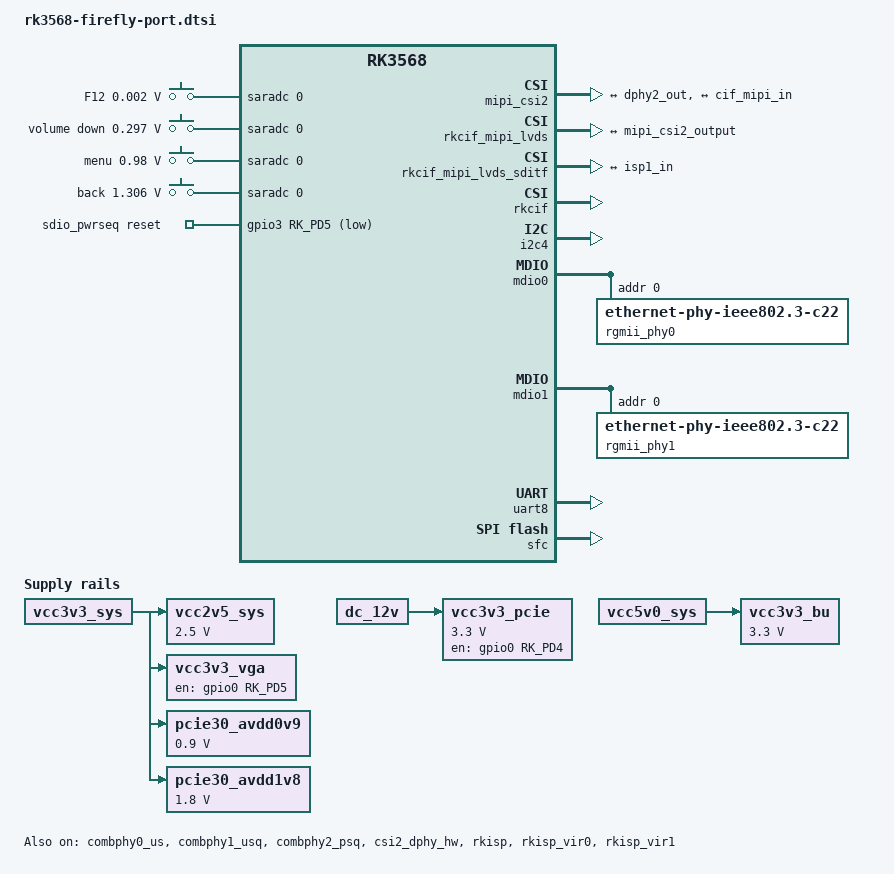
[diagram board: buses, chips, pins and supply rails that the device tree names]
// SPDX-License-Identifier: (GPL-2.0+ OR MIT)
/*
 * Copyright (c) 2020 Rockchip Electronics Co., Ltd.
 *
 */

/dts-v1/;

#include <dt-bindings/gpio/gpio.h>
#include <dt-bindings/pinctrl/rockchip.h>
#include "rk3568-firefly-core.dtsi"
#include "rk356x-firefly-demo.dtsi"

/ {
	compatible = "rockchip,rk3568-firefly-port", "rockchip,rk3568";

	adc_keys: adc-keys {
		compatible = "adc-keys";
		io-channels = <&saradc 0>;
		io-channel-names = "buttons";
		keyup-threshold-microvolt = <1800000>;
		poll-interval = <100>;

		recovery-key {
			label = "F12";
			linux,code = <KEY_F12>;
			press-threshold-microvolt = <1750>;
		};

		vol-down-key {
			label = "volume down";
			linux,code = <KEY_VOLUMEDOWN>;
			press-threshold-microvolt = <297500>;
		};

		menu-key {
			label = "menu";
			linux,code = <KEY_MENU>;
			press-threshold-microvolt = <980000>;
		};

		back-key {
			label = "back";
			linux,code = <KEY_BACK>;
			press-threshold-microvolt = <1305500>;
		};
	};

	rk_headset: rk-headset {
		status = "disabled";
		compatible = "rockchip_headset";
		headset_gpio = <&gpio3 RK_PC2 GPIO_ACTIVE_LOW>;
		pinctrl-names = "default";
		pinctrl-0 = <&hp_det>;
	};

	vcc2v5_sys: vcc2v5-ddr {
		compatible = "regulator-fixed";
		regulator-name = "vcc2v5-sys";
		regulator-always-on;
		regulator-boot-on;
		regulator-min-microvolt = <2500000>;
		regulator-max-microvolt = <2500000>;
		vin-supply = <&vcc3v3_sys>;
	};

	vcc3v3_vga: vcc3v3-vga {
		compatible = "regulator-fixed";
		regulator-name = "vcc3v3_vga";
		regulator-always-on;
		regulator-boot-on;
		gpio = <&gpio0 RK_PD5 GPIO_ACTIVE_HIGH>;
		enable-active-high;
		vin-supply = <&vcc3v3_sys>;
	};

	pcie30_avdd0v9: pcie30-avdd0v9 {
		compatible = "regulator-fixed";
		regulator-name = "pcie30_avdd0v9";
		regulator-always-on;
		regulator-boot-on;
		regulator-min-microvolt = <900000>;
		regulator-max-microvolt = <900000>;
		vin-supply = <&vcc3v3_sys>;
	};

	pcie30_avdd1v8: pcie30-avdd1v8 {
		compatible = "regulator-fixed";
		regulator-name = "pcie30_avdd1v8";
		regulator-always-on;
		regulator-boot-on;
		regulator-min-microvolt = <1800000>;
		regulator-max-microvolt = <1800000>;
		vin-supply = <&vcc3v3_sys>;
	};

	vcc3v3_pcie: gpio-regulator {
		compatible = "regulator-fixed";
		regulator-name = "vcc3v3_pcie";
		regulator-min-microvolt = <3300000>;
		regulator-max-microvolt = <3300000>;
		enable-active-high;
		gpio = <&gpio0 RK_PD4 GPIO_ACTIVE_HIGH>;
		startup-delay-us = <10000>;
		vin-supply = <&dc_12v>;
	};

	vcc3v3_bu: vcc3v3-bu {
		compatible = "regulator-fixed";
		regulator-name = "vcc3v3_bu";
		regulator-always-on;
		regulator-boot-on;
		regulator-min-microvolt = <3300000>;
		regulator-max-microvolt = <3300000>;
		vin-supply = <&vcc5v0_sys>;
	};

	sdio_pwrseq: sdio-pwrseq {
		compatible = "mmc-pwrseq-simple";
		clocks = <&rk809 1>;
		clock-names = "ext_clock";
		pinctrl-names = "default";
		pinctrl-0 = <&wifi_enable_h>;
		/*
			* On the module itself this is one of these (depending
			* on the actual card populated):
			* - SDIO_RESET_L_WL_REG_ON
			* - PDN (power down when low)
		*/
		post-power-on-delay-ms = <200>;
		reset-gpios = <&gpio3 RK_PD5 GPIO_ACTIVE_LOW>;
	};

	wireless_wlan: wireless-wlan {
		compatible = "wlan-platdata";
		rockchip,grf = <&grf>;
		wifi_chip_type = "ap6398s";
		pinctrl-names = "default";
		pinctrl-0 = <&wifi_host_wake_irq>;
		WIFI,host_wake_irq = <&gpio3 RK_PD4 GPIO_ACTIVE_HIGH>;
		status = "disabled";
	};

	wireless_bluetooth: wireless-bluetooth {
		compatible = "bluetooth-platdata";
		clocks = <&rk809 1>;
		clock-names = "ext_clock";
		//wifi-bt-power-toggle;
		uart_rts_gpios = <&gpio2 RK_PB1 GPIO_ACTIVE_LOW>;
		pinctrl-names = "default", "rts_gpio";
		pinctrl-0 = <&uart8m0_rtsn>;
		pinctrl-1 = <&uart8_gpios>;
		BT,reset_gpio    = <&gpio3 RK_PA0 GPIO_ACTIVE_HIGH>;
		BT,wake_gpio     = <&gpio3 RK_PA1 GPIO_ACTIVE_HIGH>;
		BT,wake_host_irq = <&gpio3 RK_PA2 GPIO_ACTIVE_HIGH>;
		status = "disabled";
	};
        flash_led: flash-led {
                status = "disabled";
                compatible = "led,rgb13h";
                label = "pwm-flash-led";
                led-max-microamp = <20000>;
                flash-max-microamp = <20000>;
                flash-max-timeout-us = <1000000>;
                pwms=<&pwm11 0 25000 0>;
                rockchip,camera-module-index = <1>;
                rockchip,camera-module-facing = "front";
        };
        vcc_camera: vcc-camera-regulator {
                compatible = "regulator-fixed";
                gpio = <&pca9555 PCA_IO0_3 GPIO_ACTIVE_HIGH>;
                pinctrl-names = "default";
                pinctrl-0 = <&vcc_cam>;
                regulator-name = "vcc_camera";
                enable-active-high;
		status = "disabled";
        };
};

&combphy0_us {
	status = "okay";
};

&combphy1_usq {
	status = "okay";
};

&combphy2_psq {
	status = "okay";
};

&csi2_dphy_hw {
	status = "okay";
};

&csi2_dphy0 {
	status = "disabled";
	/*
	* dphy0 only used for full mode,
	* full mode and split mode are mutually exclusive
	*/
	ports {
		#address-cells = <1>;
		#size-cells = <0>;
		port@0 {
			reg = <0>;
			#address-cells = <1>;
			#size-cells = <0>;

			mipi_in_ucam0: endpoint@1 {
				reg = <1>;
				remote-endpoint = <&ucam_out0>;
				data-lanes = <1 2 3 4>;
			};
			mipi_in_ucam1: endpoint@2 {
				reg = <2>;
				remote-endpoint = <&gc8034_out>;
				data-lanes = <1 2 3 4>;
			};
			mipi_in_ucam2: endpoint@3 {
				reg = <3>;
				remote-endpoint = <&ov5695_out>;
				data-lanes = <1 2>;
			};
			mipi_in_ucam3: endpoint@4 {
				reg = <4>;
				remote-endpoint = <&xc7022b_out>;
				data-lanes = <1 2 3 4>;
			};
			mipi_in_ucam4: endpoint@5 {
				reg = <5>;
				remote-endpoint = <&xc7160_out>;
				data-lanes = <1 2 3 4>;
			};
            mipi_in_ucam5: endpoint@6 {
				reg = <6>;
				remote-endpoint = <&veyecam2m_out>;
				data-lanes = <1 2>;
			};
		};
		port@1 {
			reg = <1>;
			#address-cells = <1>;
			#size-cells = <0>;

			csidphy_out: endpoint@0 {
				reg = <0>;
				remote-endpoint = <&isp0_in>;
			};
		};
	};
};

&rkisp {
	status = "okay";
};

&rkisp_mmu {
	status = "okay";
};

&rkisp_vir0 {
	status = "okay";
	port {
		#address-cells = <1>;
		#size-cells = <0>;

		isp0_in: endpoint@0 {
			reg = <0>;
			remote-endpoint = <&dphy1_out>;
		};
	};
};

&rkisp_vir1 {
	status = "okay";

        port {
		reg = <0>;
                #address-cells = <1>;
                #size-cells = <0>;

                isp1_in: endpoint@0 {
                        reg = <0>;
                        remote-endpoint = <&mipi_lvds_sditf>;
                };
        };
};

&csi2_dphy1 {
	status = "disabled";
	/*
	* dphy1 only used for split mode,
	* can be used  concurrently  with dphy2
	* full mode and split mode are mutually exclusive
	*/
	ports {
		#address-cells = <1>;
		#size-cells = <0>;

		port@0 {
			reg = <0>;
			#address-cells = <1>;
			#size-cells = <0>;

			dphy1_in: endpoint@1 {
					reg = <1>;
					remote-endpoint = <&gc2053_out>;
					data-lanes = <1 2>;
			};
		};

		port@1 {
			reg = <1>;
			#address-cells = <1>;
			#size-cells = <0>;

			dphy1_out: endpoint@1 {
					reg = <1>;
					remote-endpoint = <&isp0_in>;
			};
		};
	};
};

&csi2_dphy2 {
	status = "disabled";
	/*
	* dphy2 only used for split mode,
	* can be used  concurrently  with dphy1
	* full mode and split mode are mutually exclusive
	*/
	ports {
		#address-cells = <1>;
		#size-cells = <0>;

		port@0 {
			reg = <0>;
			#address-cells = <1>;
			#size-cells = <0>;

			dphy2_in: endpoint@1 {
					reg = <1>;
					remote-endpoint = <&gc2093_out>;
					data-lanes = <1 2>;
			};
		};

		port@1 {
			reg = <1>;
			#address-cells = <1>;
			#size-cells = <0>;

			dphy2_out: endpoint@1 {
					reg = <1>;
					remote-endpoint = <&mipi_csi2_input>;
			};
		};
	};
};

&mipi_csi2 {
	status = "okay";

	ports {
		#address-cells = <1>;
		#size-cells = <0>;

		port@0 {
			reg = <0>;
			#address-cells = <1>;
			#size-cells = <0>;

			mipi_csi2_input: endpoint@1 {
					reg = <1>;
					remote-endpoint = <&dphy2_out>;
					data-lanes = <1 2>;
			};
		};

		port@1 {
			reg = <1>;
			#address-cells = <1>;
			#size-cells = <0>;

			mipi_csi2_output: endpoint@0 {
					reg = <0>;
					remote-endpoint = <&cif_mipi_in>;
					data-lanes = <1 2>;
			};
		};
	};
};

&rkcif_mipi_lvds {
	status = "okay";
	port {
		cif_mipi_in: endpoint {
			remote-endpoint = <&mipi_csi2_output>;
			data-lanes = <1 2>;
		};
	};
};

&rkcif_mipi_lvds_sditf {
	status = "okay";
	port {
		mipi_lvds_sditf: endpoint {
			remote-endpoint = <&isp1_in>;
			data-lanes = <1 2>;
		};
	};
};

&rkcif_mmu {
    status = "okay";
};

&rkcif {
    status = "okay";
};

&gmac0 {
	phy-mode = "rgmii";
	clock_in_out = "input";

	snps,reset-gpio = <&gpio2 RK_PD3 GPIO_ACTIVE_LOW>;
	snps,reset-active-low;
	/* Reset time is 20ms, 100ms for rtl8211f */
	snps,reset-delays-us = <0 20000 100000>;

	assigned-clocks = <&cru SCLK_GMAC0_RX_TX>, <&cru SCLK_GMAC0>;
	assigned-clock-parents = <&cru SCLK_GMAC0_RGMII_SPEED>, <&cru CLK_MAC0_2TOP>;

	pinctrl-names = "default";
	pinctrl-0 = <&gmac0_miim
		     &gmac0_tx_bus2
		     &gmac0_rx_bus2
		     &gmac0_rgmii_clk
		     &gmac0_rgmii_bus>;

	tx_delay = <0x3c>;
	rx_delay = <0x2f>;

	phy-handle = <&rgmii_phy0>;
	status = "disabled";
};

&gmac1 {
	phy-mode = "rgmii";
	clock_in_out = "input";

	snps,reset-gpio = <&gpio2 RK_PD1 GPIO_ACTIVE_LOW>;
	snps,reset-active-low;
	/* Reset time is 20ms, 100ms for rtl8211f */
	snps,reset-delays-us = <0 20000 100000>;

	assigned-clocks = <&cru SCLK_GMAC1_RX_TX>, <&cru SCLK_GMAC1>;
	assigned-clock-parents = <&cru SCLK_GMAC1_RGMII_SPEED>, <&cru CLK_MAC1_2TOP>;

	pinctrl-names = "default";
	pinctrl-0 = <&gmac1m1_miim
		     &gmac1m1_tx_bus2
		     &gmac1m1_rx_bus2
		     &gmac1m1_rgmii_clk
		     &gmac1m1_rgmii_bus>;

	tx_delay = <0x4f>;
	rx_delay = <0x26>;

	phy-handle = <&rgmii_phy1>;
	status = "disabled";
};

/*
 * power-supply should switche to vcc3v3_lcd1_n
 * when mipi panel is connected to dsi1.
 */

&i2c4 {
	status = "okay";
	gc8034: gc8034@37 {
		compatible = "galaxycore,gc8034";
		status = "disabled";
		reg = <0x37>;
		clocks = <&cru CLK_CIF_OUT>;
		clock-names = "xvclk";
		pinctrl-names = "default";
		pinctrl-0 = <&cif_clk>;
		reset-gpios = <&gpio3 RK_PB6 GPIO_ACTIVE_LOW>;
		pwdn-gpios = <&gpio4 RK_PB4 GPIO_ACTIVE_LOW>;
		rockchip,grf = <&grf>;
		power-domains = <&power RK3568_PD_VI>;
		rockchip,camera-module-index = <0>;
		rockchip,camera-module-facing = "back";
		rockchip,camera-module-name = "RK-CMK-8M-2-v1";
		rockchip,camera-module-lens-name = "CK8401";
		port {
			gc8034_out: endpoint {
				remote-endpoint = <&mipi_in_ucam1>;
				data-lanes = <1 2 3 4>;
			};
		};
	};
        XC7022b: XC7022b@1b{
                status = "disabled";
                compatible = "firefly,xc7022";
                reg = <0x1b>;

                clocks = <&cru CLK_CIF_OUT>;
                clock-names = "xvclk";
                power-domains = <&power RK3568_PD_VI>;
                pinctrl-names = "default";
                pinctrl-0 = <&cif_clk>;

                reset-gpios = <&pca9555 PCA_IO0_0 GPIO_ACTIVE_HIGH>;
                pwdn-gpios = <&pca9555 PCA_IO0_1 GPIO_ACTIVE_HIGH>;

                firefly,clkout-enabled-index = <0>;
                rockchip,camera-module-index = <0>;
                rockchip,camera-module-facing = "back";
                rockchip,camera-module-name = "NC";
                rockchip,camera-module-lens-name = "NC";
                port {
                        xc7022b_out: endpoint {
                                        remote-endpoint = <&mipi_in_ucam0>;
                                        data-lanes = <1 2 3 4>;
                        };
                };
        };
	os04a10: os04a10@36 {
		status = "disabled";
		compatible = "ovti,os04a10";
		reg = <0x36>;
		clocks = <&cru CLK_CIF_OUT>;
		clock-names = "xvclk";
		power-domains = <&power RK3568_PD_VI>;
		pinctrl-names = "default";
		pinctrl-0 = <&cif_clk>;
		reset-gpios = <&gpio3 RK_PB6 GPIO_ACTIVE_LOW>;
		pwdn-gpios = <&gpio4 RK_PB4 GPIO_ACTIVE_HIGH>;
		rockchip,camera-module-index = <0>;
		rockchip,camera-module-facing = "back";
		rockchip,camera-module-name = "CMK-OT1607-FV1";
		rockchip,camera-module-lens-name = "M12-40IRC-4MP-F16";
		port {
			ucam_out0: endpoint {
				remote-endpoint = <&mipi_in_ucam0>;
				data-lanes = <1 2 3 4>;
			};
		};
	};
	ov5695: ov5695@36 {
		status = "disabled";
		compatible = "ovti,ov5695";
		reg = <0x36>;
		clocks = <&cru CLK_CIF_OUT>;
		clock-names = "xvclk";
		power-domains = <&power RK3568_PD_VI>;
		pinctrl-names = "default";
		pinctrl-0 = <&cif_clk>;
		reset-gpios = <&gpio3 RK_PB6 GPIO_ACTIVE_HIGH>;
		pwdn-gpios = <&gpio4 RK_PB4 GPIO_ACTIVE_HIGH>;
		rockchip,camera-module-index = <0>;
		rockchip,camera-module-facing = "back";
		rockchip,camera-module-name = "TongJu";
		rockchip,camera-module-lens-name = "CHT842-MD";
		port {
			ov5695_out: endpoint {
				remote-endpoint = <&mipi_in_ucam2>;
				data-lanes = <1 2>;
			};
		};
	};
        XC7160: XC7160b@1b{
                status = "disabled";
                compatible = "firefly,xc7160";
                reg = <0x1b>;
                clocks = <&cru CLK_CIF_OUT>;
                clock-names = "xvclk";
                power-domains = <&power RK3568_PD_VI>;
                pinctrl-names = "default";
                pinctrl-0 = <&cif_clk>;

                power-gpios = <&pca9555 PCA_IO0_4 GPIO_ACTIVE_LOW>;
                reset-gpios = <&pca9555 PCA_IO0_0 GPIO_ACTIVE_HIGH>;
                pwdn-gpios = <&pca9555 PCA_IO0_1 GPIO_ACTIVE_HIGH>;

                firefly,clkout-enabled-index = <0>;
                rockchip,camera-module-index = <0>;
                rockchip,camera-module-facing = "back";
                rockchip,camera-module-name = "NC";
                rockchip,camera-module-lens-name = "NC";
                port {
                        xc7160_out: endpoint {
                                remote-endpoint = <&mipi_in_ucam4>;
                                data-lanes = <1 2 3 4>;
                        };
                };
	};
    veyecam2m: veyecam2m@3b{
                status = "disabled";
                compatible = "veye,veyecam2m";
                reg = <0x3b>;
                clocks = <&cru CLK_CIF_OUT>;
                clock-names = "xvclk";
                power-domains = <&power RK3568_PD_VI>;
                pinctrl-names = "default";
                pinctrl-0 = <&cif_clk>;

                //power-gpios = <&pca9555 PCA_IO0_4 GPIO_ACTIVE_LOW>;
                reset-gpios = <&pca9555 PCA_IO0_0 GPIO_ACTIVE_HIGH>;
                pwdn-gpios = <&pca9555 PCA_IO0_1 GPIO_ACTIVE_HIGH>;

                firefly,clkout-enabled-index = <0>;
                rockchip,camera-module-index = <0>;
                rockchip,camera-module-facing = "back";
                rockchip,camera-module-name = "NC";
                rockchip,camera-module-lens-name = "NC";
                port {
                        veyecam2m_out: endpoint {
                                remote-endpoint = <&mipi_in_ucam5>;
                                data-lanes = <1 2>;
                        };
                };
	};
        gc2053: gc2053@37 { //IR
                status = "disabled";
                compatible = "galaxycore,gc2053";
                reg = <0x37>;

                avdd-supply = <&vcc_camera>;
                power-domains = <&power RK3568_PD_VI>;
                clocks = <&pmucru CLK_WIFI>;
                clock-names = "xvclk";
                pinctrl-names = "default";
                pinctrl-0 = <&refclk_pins>;

                power-gpios = <&pca9555 PCA_IO0_0 GPIO_ACTIVE_HIGH>; //IR_PWR_EN
                pwdn-gpios = <&pca9555 PCA_IO0_4 GPIO_ACTIVE_LOW>;

                firefly,clkout-enabled-index = <1>;
                rockchip,camera-module-index = <0>;
                rockchip,camera-module-facing = "back";
                rockchip,camera-module-name = "YT-RV1109-2-V1";
                rockchip,camera-module-lens-name = "40IR-2MP-F20";
                port {
                        gc2053_out: endpoint {
                                        remote-endpoint = <&dphy1_in>;
                                        data-lanes = <1 2>;
                        };
                };
        };
        gc2093: gc2093b@7e{ //RGB
                status = "disabled";
                compatible = "galaxycore,gc2093";
                reg = <0x7e>;

                avdd-supply = <&vcc_camera>;
                power-domains = <&power RK3568_PD_VI>;
                clock-names = "xvclk";
                pinctrl-names = "default";
                flash-leds = <&flash_led>;

                pwdn-gpios = <&pca9555 PCA_IO0_1 GPIO_ACTIVE_HIGH>;

                firefly,clkout-enabled-index = <0>;
                rockchip,camera-module-index = <1>;
                rockchip,camera-module-facing = "front";
                rockchip,camera-module-name = "YT-RV1109-2-V1";
                rockchip,camera-module-lens-name = "40IR-2MP-F20";
                port {
                        gc2093_out: endpoint {
                                        remote-endpoint = <&dphy2_in>;
                                        data-lanes = <1 2>;
                        };
                };
        };
};

&i2c1 {
	status = "disabled";
	clock-frequency = <100000>;

	pca9555: gpio@21 {
		status = "disabled";
		compatible = "nxp,pca9555";
		reg = <0x21>;
		gpio-controller;
		#gpio-cells = <2>;
		gpio-group-num = <200>;
	};

	gt1x: gt1x@14 {
		status = "disabled";
		compatible = "goodix,gt1x";
		reg = <0x14>;
		pinctrl-names = "default";
		pinctrl-0 = <&touch_gpio>;
		goodix,rst-gpio = <&gpio0 RK_PB6 GPIO_ACTIVE_HIGH>;
		goodix,irq-gpio = <&gpio0 RK_PB5 IRQ_TYPE_LEVEL_LOW>;
	};
};

&i2c5 {
	status = "disabled";

	hym8563: hym8563@51 {
		status = "disabled";
		compatible = "haoyu,hym8563";
		reg = <0x51>;
		#clock-cells = <0>;
		rtc-irq-gpio = <&gpio0 RK_PD3 IRQ_TYPE_EDGE_FALLING>;
		clock-frequency = <32768>;
		//clock-output-names = "xin32k";
		/* rtc_int is not connected */
	};

	mc3230: mc3230sensor@4c {
		compatible = "gs_mc3230";
		reg = <0x4c>;
		type = <SENSOR_TYPE_ACCEL>;
		irq_enable = <0>;
		poll_delay_ms = <30>;
		layout = <4>;
		status = "disabled";
	};

	mxc6655xa: mxc6655xa@15 {
		status = "disabled";
		compatible = "gs_mxc6655xa";
		pinctrl-names = "default";
		pinctrl-0 = <&mxc6655xa_irq_gpio>;
		reg = <0x15>;
		irq-gpio = <&gpio3 RK_PC1 IRQ_TYPE_LEVEL_LOW>;
		irq_enable = <0>;
		poll_delay_ms = <30>;
		type = <SENSOR_TYPE_ACCEL>;
		power-off-in-suspend = <1>;
		layout = <1>;
	};
};

&mdio0 {
	rgmii_phy0: phy@0 {
		compatible = "ethernet-phy-ieee802.3-c22";
		reg = <0x0>;
	};
};

&mdio1 {
	rgmii_phy1: phy@0 {
		compatible = "ethernet-phy-ieee802.3-c22";
		reg = <0x0>;
	};
};

&pcie30phy {
	status = "disabled";
};

&pcie3x2 {
	reset-gpios = <&gpio2 RK_PD6 GPIO_ACTIVE_HIGH>;
	vpcie3v3-supply = <&vcc3v3_pcie>;
	status = "disabled";
};


&sata2 {
	pinctrl-names = "default";
	pinctrl-0 = <&sata2_pins>;
	status = "disabled";
};

&sdmmc2 {
	max-frequency = <150000000>;
	supports-sdio;
	bus-width = <4>;
	disable-wp;
	cap-sd-highspeed;
	cap-sdio-irq;
	keep-power-in-suspend;
	pinctrl-names = "default";
	pinctrl-0 = <&sdmmc2m0_bus4 &sdmmc2m0_cmd &sdmmc2m0_clk>;
	sd-uhs-sdr104;
	mmc-pwrseq = <&sdio_pwrseq>;
	non-removable;
	status = "disabled";
};

&spdif_8ch {
	status = "disabled";
	pinctrl-names = "default";
	pinctrl-0 = <&spdifm1_tx>;
};

&uart3 {
	status = "disabled";
	pinctrl-names = "default";
	pinctrl-0 = <&uart3m1_xfer>;
};

&uart4 {
	status = "disabled";
	pinctrl-names = "default";
	pinctrl-0 = <&uart4m1_xfer>;
};

&uart8 {
	status = "okay";
	pinctrl-names = "default";
	pinctrl-0 = <&uart8m0_xfer &uart8m0_ctsn>;
};

&can1 {
	status = "disabled";
	compatible = "rockchip,can-1.0";
	assigned-clocks = <&cru CLK_CAN1>;
	assigned-clock-rates = <200000000>;
	pinctrl-names = "default";
	pinctrl-0 = <&can1m1_pins>;
};

&can2 {
	status = "disabled";
	compatible = "rockchip,can-1.0";
	assigned-clocks = <&cru CLK_CAN2>;
	assigned-clock-rates = <200000000>;
	pinctrl-names = "default";
	pinctrl-0 = <&can2m0_pins>;
};

&spi1 {
	status = "disabled";
	max-freq = <48000000>;
	dev-port = <0>;
	pinctrl-0 = <&spi1m1_pins>;
	pinctrl-1 = <&spi1m1_pins_hs>;

	spi_wk2xxx: spi_wk2xxx@00{
		status = "disabled";
		compatible = "firefly,spi-wk2xxx";
		reg = <0x00>;
		spi-max-frequency = <10000000>;
		power-gpio = <&pca9555 PCA_IO1_7 GPIO_ACTIVE_HIGH>;
		reset-gpio = <&pca9555 PCA_IO1_1 GPIO_ACTIVE_HIGH>;
		irq-gpio = <&gpio0 RK_PA6 IRQ_TYPE_EDGE_FALLING>;
		cs-gpio = <&gpio3 RK_PA1 GPIO_ACTIVE_HIGH>;
		/* rk3399 driver support SPI_CPOL | SPI_CPHA | SPI_CS_HIGH */
		//spi-cpha;     /* SPI mode: CPHA=1 */
		//spi-cpol;     /* SPI mode: CPOL=1 */
		//spi-cs-high;
	};
};

&pwm11 {
        status = "disabled";
        pinctrl-0 = <&pwm11m1_pins>;
};

&pwm7 {
	status = "disabled";

	compatible = "rockchip,remotectl-pwm";
	remote_pwm_id = <3>;
	handle_cpu_id = <1>;
	remote_support_psci = <0>;
	pinctrl-names = "default";
	pinctrl-0 = <&pwm7_pins>;

	ir_key_firefly{
		rockchip,usercode = <0xff00>;
		rockchip,key_table =
			<0xeb   KEY_POWER>,
			<0xec   KEY_MENU>,
			<0xfe   KEY_BACK>,
			<0xb7   KEY_HOME>,
			<0xa3   KEY_WWW>,
			<0xf4   KEY_VOLUMEUP>,
			<0xa7   KEY_VOLUMEDOWN>,
			<0xf8   KEY_REPLY>,
			<0xfc   KEY_UP>,
			<0xfd   KEY_DOWN>,
			<0xf1   KEY_LEFT>,
			<0xe5   KEY_RIGHT>;
	};
	ir_key_firefly_yk_c900j{
		rockchip,usercode = <0xe0e>;
		rockchip,key_table =
			<0xf3   KEY_POWER>,
			<0xee   KEY_MENU>,
			<0xa4   KEY_BACK>,
			<0x87   KEY_HOME>,
			<0xeb   KEY_VOLUMEUP>,
			<0xea   KEY_VOLUMEDOWN>,
			<0xb9   KEY_REPLY>,
			<0xbd   KEY_UP>,
			<0xbc   KEY_DOWN>,
			<0xbb   KEY_LEFT>,
			<0xba   KEY_RIGHT>,
			<0xf2   KEY_MUTE>;
	};
};

&pinctrl {

	cam {
		vcc_cam: vcc-cam {
			rockchip,pins =
				/* camera power en */
				<0 RK_PC1 RK_FUNC_GPIO &pcfg_pull_none>;
		};
	};
	headphone {
		hp_det: hp-det {
			rockchip,pins = <3 RK_PC2 RK_FUNC_GPIO &pcfg_pull_down>;
		};
	};

	sdio-pwrseq {
		wifi_enable_h: wifi-enable-h {
			rockchip,pins = <3 RK_PD5 RK_FUNC_GPIO &pcfg_pull_none>;
		};
	};

	wireless-wlan {
		wifi_host_wake_irq: wifi-host-wake-irq {
			rockchip,pins = <3 RK_PD4 RK_FUNC_GPIO &pcfg_pull_down>;
		};
	};

	wireless-bluetooth {
		uart8_gpios: uart8-gpios {
			rockchip,pins = <2 RK_PB1 RK_FUNC_GPIO &pcfg_pull_none>;
		};
	};

	touch {
		touch_gpio: touch-gpio {
			rockchip,pins =
				<0 RK_PB5 RK_FUNC_GPIO &pcfg_pull_up>,
				<0 RK_PB6 RK_FUNC_GPIO &pcfg_pull_none>;
		};
	};

	mxc6655xa {
		mxc6655xa_irq_gpio: mxc6655xa_irq_gpio {
			rockchip,pins = <RK_GPIO3 RK_PC1 RK_FUNC_GPIO &pcfg_pull_none>;
		};
	};
};

&sfc{
    pinctrl-names = "default";
    pinctrl-0 = <&fspi_pins>;
    assigned-clock-rates = <50000000>;
    status = "okay";
};
